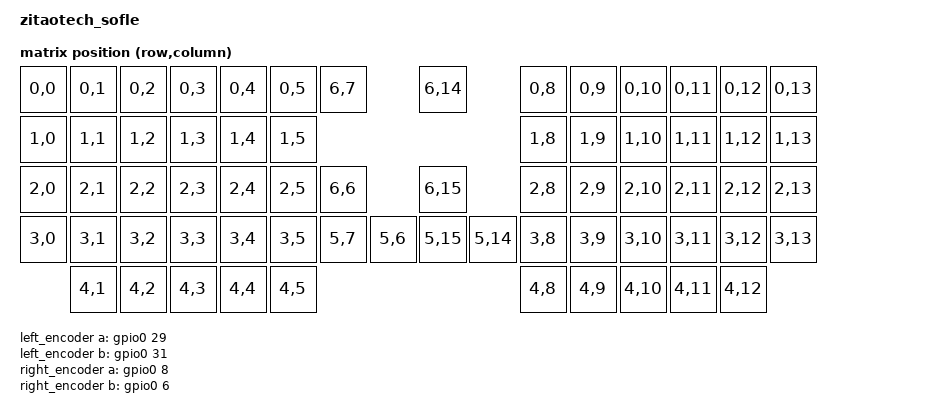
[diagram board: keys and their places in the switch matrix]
/*
 * Copyright (c) 2023 ZitaoTech
 *
 * SPDX-License-Identifier: MIT
 */

/dts-v1/;
#include <nordic/nrf52840_qiaa.dtsi>

#include <dt-bindings/led/led.h>
#include <dt-bindings/zmk/matrix_transform.h>
#include "zitaotech_sofle-layouts.dtsi"


/ {
    model = "zitaotech_sofle";
    compatible = "ZitaoTech,zitaotech-sofle";

    chosen {
        zephyr,code-partition = &code_partition;
        zephyr,sram = &sram0;
        zephyr,flash = &flash0;
        zephyr,console = &cdc_acm_uart;
        zmk,kscan = &kscan0;
        zmk,physical-layouts = &zitaotech_sofle_layout;
        zmk,studio-rpc-uart = &cdc_acm_uart; // ✅ 
    };
    default_transform: keymap_transform_0 {
        compatible = "zmk,matrix-transform";
        columns = <16>;
        rows = <6>;
        map = <
RC(0,0)  RC(0,1) RC(0,2) RC(0,3) RC(0,4) RC(0,5)  RC(6,7)             RC(6,14)           RC(0,8)  RC(0,9)  RC(0,10) RC(0,11) RC(0,12) RC(0,13)
RC(1,0)  RC(1,1) RC(1,2) RC(1,3) RC(1,4) RC(1,5)                                         RC(1,8)  RC(1,9)  RC(1,10) RC(1,11) RC(1,12) RC(1,13)
RC(2,0)  RC(2,1) RC(2,2) RC(2,3) RC(2,4) RC(2,5)  RC(6,6)             RC(6,15)           RC(2,8)  RC(2,9)  RC(2,10) RC(2,11) RC(2,12) RC(2,13)
RC(3,0)  RC(3,1) RC(3,2) RC(3,3) RC(3,4) RC(3,5)  RC(5,7)  RC(5,6)    RC(5,15) RC(5,14)  RC(3,8)  RC(3,9)  RC(3,10) RC(3,11) RC(3,12) RC(3,13)
         RC(4,1) RC(4,2) RC(4,3) RC(4,4) RC(4,5)                                         RC(4,8)  RC(4,9)  RC(4,10) RC(4,11) RC(4,12)
        >;
    };

left_encoder: encoder_left {
        compatible = "alps,ec11";
        a-gpios = <&gpio0 29 (GPIO_ACTIVE_HIGH | GPIO_OPEN_DRAIN)>;
        b-gpios = <&gpio0 31 (GPIO_ACTIVE_HIGH | GPIO_OPEN_DRAIN)>;
        resolution = <4>;
        steps = <30>;
        status = "disabled";
     };

right_encoder: encoder_right {
        compatible = "alps,ec11";
        a-gpios = <&gpio0 8 (GPIO_ACTIVE_HIGH | GPIO_OPEN_DRAIN)>;
        b-gpios = <&gpio0 6 (GPIO_ACTIVE_HIGH | GPIO_OPEN_DRAIN)>;
        resolution = <4>;
        steps = <30>;
        status = "disabled";
     };

     sensors: sensors {
        compatible = "zmk,keymap-sensors";
        sensors = <&left_encoder &right_encoder>;
        triggers-per-rotation = <15>;
    }; 

};

/ {
    split_inputs {
        #address-cells = <1>;
        #size-cells = <0>;

        /* BB Trackball */
        trackpoint_split: trackpoint_split@0 {
            compatible = "zmk,input-split";
            reg = <0>;
        };

    };

    /* Listeners */
    trackpoint_listener: trackpoint_listener {
        compatible = "zmk,input-listener";
        status = "disabled";
        device = <&trackpoint_split>;
    };

};

&usbd {
    status = "okay";
    cdc_acm_uart: cdc_acm_uart {
        compatible = "zephyr,cdc-acm-uart";
    };
};

&zitaotech_sofle_layout{
	transform = <&default_transform>;
	kscan = <&kscan0>;
};  

zephyr_udc0: &usbd { 
    compatible = "nordic,nrf-usbd"; 
    status = "okay"; 
};

&flash0 {
    partitions {
        compatible = "fixed-partitions";
        #address-cells = <1>;
        #size-cells = <1>;

        sd_partition: partition@0 {
            reg = <0x00000000 0x00001000>;
        };

        code_partition: partition@1000 {
            reg = <0x00001000 0x000d3000>;
        };

        storage_partition: partition@d4000 {
            reg = <0x000d4000 0x00020000>;
        };

        boot_partition: partition@f4000 {
            reg = <0x000f4000 0x0000c000>;
        };
    };
};

